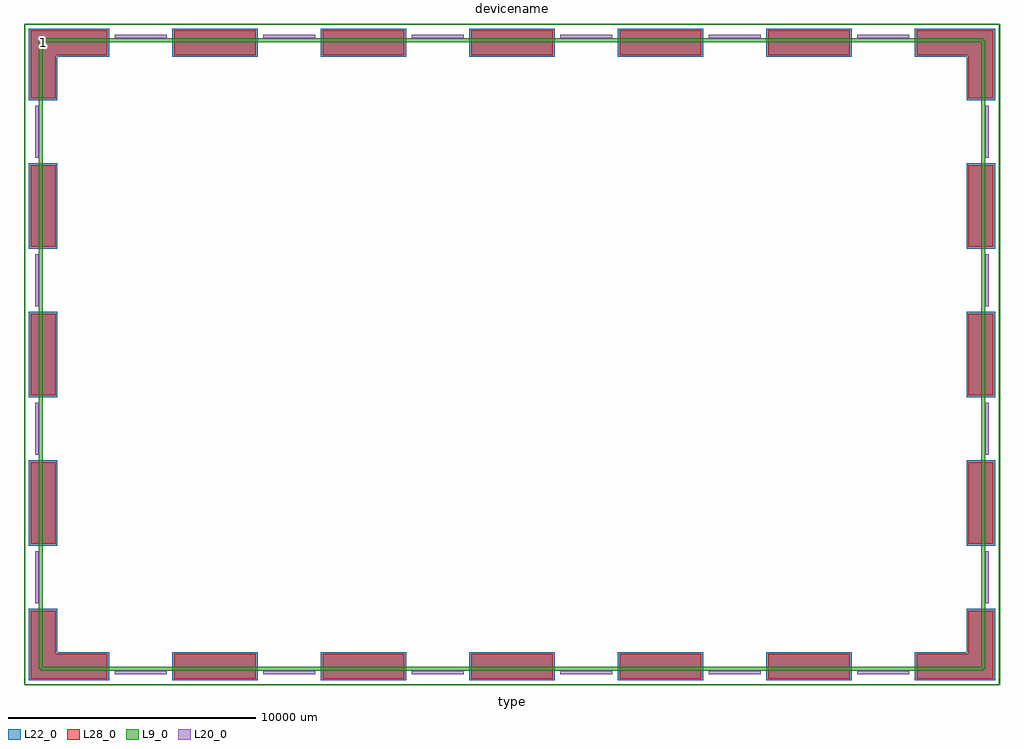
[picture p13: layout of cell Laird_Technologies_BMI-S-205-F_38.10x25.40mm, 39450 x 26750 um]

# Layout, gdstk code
import gdstk
lib = gdstk.Library(unit=1e-6, precision=1e-09)
def R(c, l, rs):  # rectangles x0, y0, x1, y1
    for r in rs: c.add(gdstk.rectangle(r[:2], r[2:], *l))
def A(c, l, x, y, w, h, nx, ny, dx, dy):  # array of equal rectangles
    R(c, l, [(x+i*dx, y+j*dy, x+i*dx+w, y+j*dy+h) for i in range(nx) for j in range(ny)])
L9_0 = (9, 0)
L20_0 = (20, 0)
L22_0 = (22, 0)
L28_0 = (28, 0)

laird_technologies_bmi_s = lib.new_cell('Laird_Technologies_BMI-S-205-F_38.10x25.40mm')
A(laird_technologies_bmi_s, L22_0, -13725, -13175, 3450, 1150, 5, 2, 6000, 25200)
A(laird_technologies_bmi_s, L22_0, -19525, -7725, 1150, 3450, 1, 3, 0, 6000)
A(laird_technologies_bmi_s, L22_0, 18375, -7725, 1150, 3450, 1, 3, 0, 6000)
R(laird_technologies_bmi_s, L22_0, [(-19525,-13175,-18375,-12025), (-18525,-13175,-16275,-12025), (16275,-13175,18525,-12025), (18375,-13175,19525,-12025), (-19525,-12175,-18375,-10275), (18375,-12175,19525,-10275), (-19525,10275,-18375,12175), (18375,10275,19525,12175), (-19525,12025,-18375,13175), (-18525,12025,-16275,13175), (16275,12025,18525,13175), (18375,12025,19525,13175)])
A(laird_technologies_bmi_s, L28_0, -13650, -13100, 3300, 1000, 5, 2, 6000, 25200)
A(laird_technologies_bmi_s, L28_0, -19450, -7650, 1000, 3300, 1, 3, 0, 6000)
A(laird_technologies_bmi_s, L28_0, 18450, -7650, 1000, 3300, 1, 3, 0, 6000)
R(laird_technologies_bmi_s, L28_0, [(-19450,-13100,-18450,-12100), (-18450,-13100,-16350,-12100), (16350,-13100,18450,-12100), (18450,-13100,19450,-12100), (-19450,-12100,-18450,-10350), (18450,-12100,19450,-10350), (-19450,10350,-18450,12100), (18450,10350,19450,12100), (-19450,12100,-18450,13100), (-18450,12100,-16350,13100), (16350,12100,18450,13100), (18450,12100,19450,13100)])
laird_technologies_bmi_s.add(gdstk.FlexPath([(19200,-7950),(19200,-10050)], 149.998, ends="flush", simple_path=True, layer=20, datatype=0))  # L20_0
laird_technologies_bmi_s.add(gdstk.FlexPath([(-19200,-7950),(-19200,-10050)], 149.998, ends="flush", simple_path=True, layer=20, datatype=0))  # L20_0
laird_technologies_bmi_s.add(gdstk.FlexPath([(19200,-1950),(19200,-4050)], 149.998, ends="flush", simple_path=True, layer=20, datatype=0))  # L20_0
laird_technologies_bmi_s.add(gdstk.FlexPath([(-19200,-1950),(-19200,-4050)], 149.998, ends="flush", simple_path=True, layer=20, datatype=0))  # L20_0
laird_technologies_bmi_s.add(gdstk.FlexPath([(19200,4050),(19200,1950)], 149.998, ends="flush", simple_path=True, layer=20, datatype=0))  # L20_0
laird_technologies_bmi_s.add(gdstk.FlexPath([(-19200,4050),(-19200,1950)], 149.998, ends="flush", simple_path=True, layer=20, datatype=0))  # L20_0
laird_technologies_bmi_s.add(gdstk.FlexPath([(19200,10050),(19200,7950)], 149.998, ends="flush", simple_path=True, layer=20, datatype=0))  # L20_0
laird_technologies_bmi_s.add(gdstk.FlexPath([(-19200,10050),(-19200,7950)], 149.998, ends="flush", simple_path=True, layer=20, datatype=0))  # L20_0
laird_technologies_bmi_s.add(gdstk.FlexPath([(13950,-12850),(16050,-12850)], 149.998, ends="flush", simple_path=True, layer=20, datatype=0))  # L20_0
laird_technologies_bmi_s.add(gdstk.FlexPath([(13950,12850),(16050,12850)], 149.998, ends="flush", simple_path=True, layer=20, datatype=0))  # L20_0
laird_technologies_bmi_s.add(gdstk.FlexPath([(7950,-12850),(10050,-12850)], 149.998, ends="flush", simple_path=True, layer=20, datatype=0))  # L20_0
laird_technologies_bmi_s.add(gdstk.FlexPath([(7950,12850),(10050,12850)], 149.998, ends="flush", simple_path=True, layer=20, datatype=0))  # L20_0
laird_technologies_bmi_s.add(gdstk.FlexPath([(1950,-12850),(4050,-12850)], 149.998, ends="flush", simple_path=True, layer=20, datatype=0))  # L20_0
laird_technologies_bmi_s.add(gdstk.FlexPath([(1950,12850),(4050,12850)], 149.998, ends="flush", simple_path=True, layer=20, datatype=0))  # L20_0
laird_technologies_bmi_s.add(gdstk.FlexPath([(-4050,-12850),(-1950,-12850)], 149.998, ends="flush", simple_path=True, layer=20, datatype=0))  # L20_0
laird_technologies_bmi_s.add(gdstk.FlexPath([(-4050,12850),(-1950,12850)], 149.998, ends="flush", simple_path=True, layer=20, datatype=0))  # L20_0
laird_technologies_bmi_s.add(gdstk.FlexPath([(-10050,-12850),(-7950,-12850)], 149.998, ends="flush", simple_path=True, layer=20, datatype=0))  # L20_0
laird_technologies_bmi_s.add(gdstk.FlexPath([(-10050,12850),(-7950,12850)], 149.998, ends="flush", simple_path=True, layer=20, datatype=0))  # L20_0
laird_technologies_bmi_s.add(gdstk.FlexPath([(-16050,-12850),(-13950,-12850)], 149.998, ends="flush", simple_path=True, layer=20, datatype=0))  # L20_0
laird_technologies_bmi_s.add(gdstk.FlexPath([(-16050,12850),(-13950,12850)], 149.998, ends="flush", simple_path=True, layer=20, datatype=0))  # L20_0
laird_technologies_bmi_s.add(gdstk.FlexPath([(19050,12700),(-19050,12700)], 149.998, ends="flush", simple_path=True, layer=9, datatype=0))  # L9_0
laird_technologies_bmi_s.add(gdstk.FlexPath([(19050,-12700),(19050,12700)], 149.998, ends="flush", simple_path=True, layer=9, datatype=0))  # L9_0
laird_technologies_bmi_s.add(gdstk.FlexPath([(-19050,-12700),(19050,-12700)], 149.998, ends="flush", simple_path=True, layer=9, datatype=0))  # L9_0
laird_technologies_bmi_s.add(gdstk.FlexPath([(-19050,12700),(-19050,-12700)], 149.998, ends="flush", simple_path=True, layer=9, datatype=0))  # L9_0
laird_technologies_bmi_s.add(gdstk.FlexPath([(19700,13350),(-19700,13350)], 50, ends="flush", simple_path=True, layer=9, datatype=0))  # L9_0
laird_technologies_bmi_s.add(gdstk.FlexPath([(19700,-13350),(19700,13350)], 50, ends="flush", simple_path=True, layer=9, datatype=0))  # L9_0
laird_technologies_bmi_s.add(gdstk.FlexPath([(-19700,-13350),(19700,-13350)], 50, ends="flush", simple_path=True, layer=9, datatype=0))  # L9_0
laird_technologies_bmi_s.add(gdstk.FlexPath([(-19700,13350),(-19700,-13350)], 50, ends="flush", simple_path=True, layer=9, datatype=0))  # L9_0
laird_technologies_bmi_s.add(gdstk.Label('1', (-18950,12600), layer=28, texttype=0))
laird_technologies_bmi_s.add(gdstk.Label('type', (0,-14100), layer=9, texttype=0))
laird_technologies_bmi_s.add(gdstk.Label('devicename', (0,14100), layer=9, texttype=0))

lib.write_gds('Laird_Technologies_BMI-S-205-F_38.10x25.40mm.gds')
